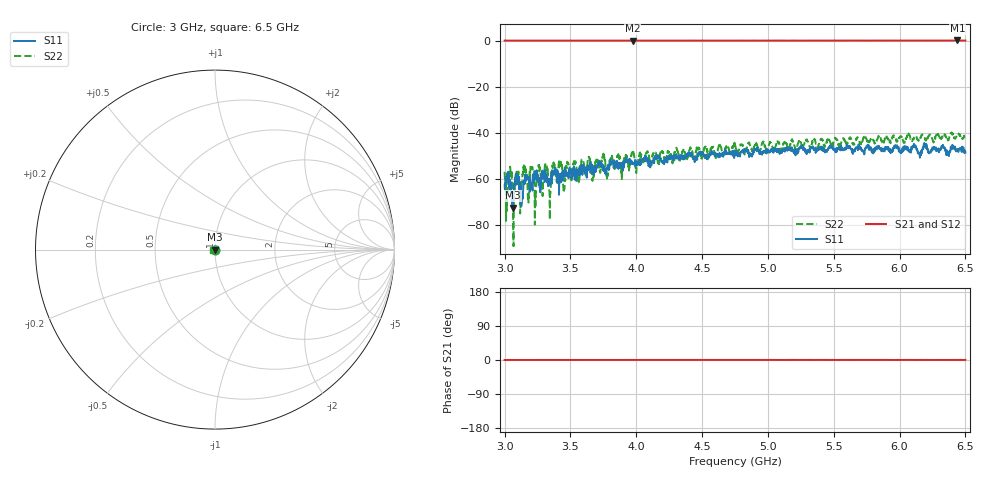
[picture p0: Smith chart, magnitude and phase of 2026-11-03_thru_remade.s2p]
! HEWLETT PACKARD,8720ES,MY41003347,7.72, via hp_87xxES.py
! measured 2026-11-03 20:39:12
! error correction: on, calibration kit CALK35MD
! 1601 points, 3000000000 to 6500000000 Hz, IF bandwidth 1000 Hz, source power -40.00 dBm, step sweep on
# HZ S RI R 50
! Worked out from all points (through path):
!   1601 points, 3 GHz to 6.5 GHz, reference 50 ohm
!   highest |S21| = 0.14 dB at 6.439 GHz (marker M1); lowest = 0.0 dB at 3.973 GHz (marker M2)
!   lowest |S11| = -72.6 dB at 3.063 GHz (marker M3), VSWR 1.00, Z = 50 - j0.0121 ohm
!   |S11| at or under -10 dB: start of sweep to end of sweep
!   |S22| runs from -89.4 to -39.9 dB; largest |S21 - S12| = 0.0081
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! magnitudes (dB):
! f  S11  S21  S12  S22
! 3 GHz  -62.9  0.1  0.1  -57.1
! 3.042 GHz  -60.7  0.1  0.1  -54.8
! 3.063 GHz  -72.6  0.1  0.1  -65.1
! 3.092 GHz  -62.6  0.1  0.1  -57.0
! 3.129 GHz  -69.8  0.1  0.1  -62.6
! 3.153 GHz  -62.3  0.1  0.1  -55.5
! 3.232 GHz  -58.3  0.1  0.1  -67.6
! 3.26 GHz  -62.7  0.0  0.1  -54.5
! 3.315 GHz  -58.3  0.1  0.1  -54.5
! 3.341 GHz  -61.5  0.1  0.1  -65.8
! 3.372 GHz  -58.1  0.1  0.1  -53.0
! 3.455 GHz  -59.2  0.1  0.1  -64.5
! 3.481 GHz  -58.6  0.1  0.1  -53.6
! 3.584 GHz  -54.3  0.1  0.1  -51.7
! 3.783 GHz  -55.5  0.1  0.1  -58.6
! 3.973 GHz  -53.6  0.0  0.1  -48.3
! 4.168 GHz  -49.9  0.1  0.1  -52.9
! 4.75 GHz  -48.7  0.1  0.1  -46.6
! 5.334 GHz  -46.7  0.1  0.1  -45.0
! 5.918 GHz  -48.0  0.1  0.1  -43.5
! 6.439 GHz  -48.1  0.1  0.1  -41.4
! 6.5 GHz  -48.7  0.1  0.1  -40.2
